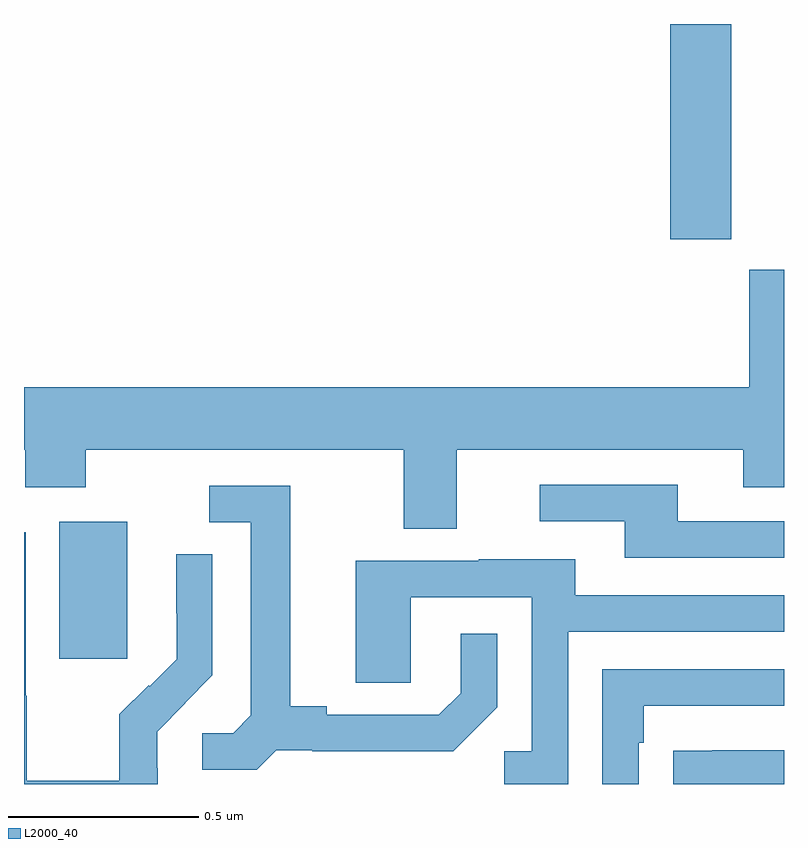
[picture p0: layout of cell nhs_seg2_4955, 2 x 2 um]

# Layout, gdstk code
import gdstk
lib = gdstk.Library(unit=1e-6, precision=1e-09)
def R(c, l, rs):  # rectangles x0, y0, x1, y1
    for r in rs: c.add(gdstk.rectangle(r[:2], r[2:], *l))
def P(c, l, *ps):  # polygons
    for p in ps: c.add(gdstk.Polygon(p, *l))
L2000_40 = (2000, 40)

nhs_seg2_4955 = lib.new_cell('nhs_seg2_4955')
R(nhs_seg2_4955, L2000_40, [(173.093,603.129,173.272,603.49), (174.701,604.233,174.861,604.8)])
P(nhs_seg2_4955, L2000_40, [(174.139,603.68),(174.893,603.68),(174.893,603.581),(175,603.581),(175,604.153),(174.908,604.153),(174.908,603.844),(173,603.844),(173,603.68),(173.003,603.68),(173.003,603.581),(173.163,603.581),(173.163,603.68),(173.999,603.68),(173.999,603.472),(174.139,603.472)],
  [(175,603.492),(174.721,603.492),(174.721,603.588),(174.357,603.588),(174.357,603.492),(174.581,603.492),(174.581,603.396),(175,603.396)],
  [(173.664,602.889),(173.758,602.889),(173.758,602.886),(174.13,602.886),(174.246,603.002),(174.246,603.196),(174.149,603.196),(174.149,603.039),(174.092,602.982),(173.797,602.982),(173.797,603.005),(173.701,603.005),(173.701,603.585),(173.487,603.585),(173.487,603.489),(173.597,603.489),(173.597,602.981),(173.55,602.934),(173.469,602.934),(173.469,602.837),(173.612,602.837)],
  [(173.352,602.841),(173.35,602.841),(173.35,602.938),(173.424,603.012),(173.423,603.013),(173.496,603.086),(173.496,603.404),(173.4,603.404),(173.4,603.25),(173.402,603.25),(173.402,603.128),(173.331,603.057),(173.328,603.06),(173.251,602.983),(173.251,602.809),(173.007,602.809),(173.007,603.032),(173.004,603.032),(173.004,603.462),(173,603.462),(173,602.8),(173.352,602.8)],
  [(174.432,603.201),(175,603.201),(175,603.297),(174.451,603.297),(174.451,603.391),(174.197,603.391),(174.197,603.387),(173.873,603.387),(173.873,603.067),(174.018,603.067),(174.018,603.291),(174.336,603.291),(174.336,602.886),(174.264,602.886),(174.264,602.8),(174.432,602.8)],
  [(174.618,602.909),(174.631,602.909),(174.631,603.006),(175,603.006),(175,603.102),(174.522,603.102),(174.522,602.8),(174.618,602.8)],
  [(175,602.889),(174.811,602.889),(174.811,602.888),(174.709,602.888),(174.709,602.8),(175,602.8)])

lib.write_gds('nhs_seg2_4955.gds')
